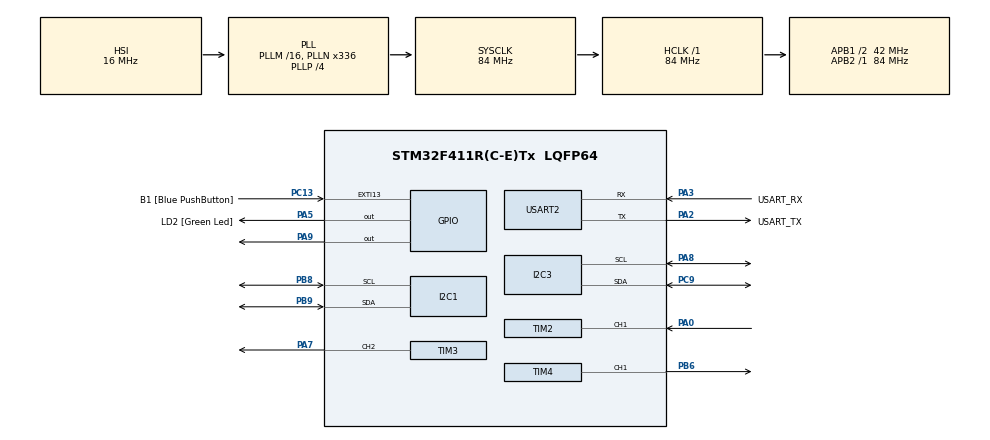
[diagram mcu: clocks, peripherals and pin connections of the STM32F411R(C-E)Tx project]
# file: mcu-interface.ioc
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Mcu.Family=STM32F4
Mcu.Name=STM32F411R(C-E)Tx
Mcu.Package=LQFP64
NVIC.PriorityGroup=NVIC_PRIORITYGROUP_0
NVIC.TIM2_IRQn=true\:0\:0\:false\:false\:true\:true\:true\:true
NVIC.TIM5_IRQn=true\:0\:0\:false\:false\:true\:true\:true\:true
PA0-WKUP.Signal=S_TIM2_CH1_ETR
PA13.GPIO_Label=TMS
PA13.Signal=SYS_JTMS-SWDIO
PA14.GPIO_Label=TCK
PA14.Signal=SYS_JTCK-SWCLK
PA2.GPIO_Label=USART_TX
PA2.Mode=Asynchronous
PA2.Signal=USART2_TX
PA3.GPIO_Label=USART_RX
PA3.Mode=Asynchronous
PA3.Signal=USART2_RX
PA5.GPIO_Label=LD2 [Green Led]
PA5.Signal=GPIO_Output
PA7.Signal=S_TIM3_CH2
PA8.Mode=I2C
PA8.Signal=I2C3_SCL
PA9.GPIO_ModeDefaultOutputPP=GPIO_MODE_OUTPUT_OD
PA9.GPIO_PuPd=GPIO_NOPULL
PA9.GPIO_Speed=GPIO_SPEED_FREQ_VERY_HIGH
PA9.PinState=GPIO_PIN_SET
PA9.Signal=GPIO_Output
PB3.GPIO_Label=SWO
PB3.Signal=SYS_JTDO-SWO
PB6.Signal=S_TIM4_CH1
PB8.Mode=I2C
PB8.Signal=I2C1_SCL
PB9.Mode=I2C
PB9.Signal=I2C1_SDA
PC13-ANTI_TAMP.GPIO_Label=B1 [Blue PushButton]
PC13-ANTI_TAMP.GPIO_ModeDefaultEXTI=GPIO_MODE_IT_FALLING
PC13-ANTI_TAMP.Signal=GPXTI13
PC14-OSC32_IN.Signal=RCC_OSC32_IN
PC15-OSC32_OUT.Signal=RCC_OSC32_OUT
PC9.Mode=I2C
PC9.Signal=I2C3_SDA
PH0\ -\ OSC_IN.Signal=RCC_OSC_IN
PH1\ -\ OSC_OUT.Signal=RCC_OSC_OUT
ProjectManager.HeapSize=0x200
ProjectManager.StackSize=0x400
ProjectManager.TargetToolchain=Makefile
RCC.48MHZClocksFreq_Value=84000000
RCC.AHBFreq_Value=84000000
RCC.APB1CLKDivider=RCC_HCLK_DIV2
RCC.APB1Freq_Value=42000000
RCC.APB1TimFreq_Value=84000000
RCC.APB2Freq_Value=84000000
RCC.APB2TimFreq_Value=84000000
RCC.CortexFreq_Value=84000000
RCC.FLatency-AdvancedSettings=FLASH_LATENCY_2
RCC.HCLKFreq_Value=84000000
RCC.HSE_VALUE=8000000
RCC.HSI_VALUE=16000000
RCC.LSE_VALUE=32768
RCC.PLLN=336
RCC.PLLP=RCC_PLLP_DIV4
RCC.SYSCLKFreq_VALUE=84000000
RCC.SYSCLKSource=RCC_SYSCLKSOURCE_PLLCLK
RCC.VCOOutputFreq_Value=336000000
SH.S_TIM2_CH1_ETR.0=TIM2_CH1,Input_Capture1_from_TI1
SH.S_TIM3_CH2.0=TIM3_CH2,PWM Generation2 CH2
SH.S_TIM4_CH1.0=TIM4_CH1,PWM Generation1 CH1
TIM2.Channel-Input_Capture1_from_TI1=TIM_CHANNEL_1
TIM2.Period=65535
TIM2.Prescaler=83
TIM3.Channel-PWM\ Generation2\ CH2=TIM_CHANNEL_2
TIM3.Prescaler=20
TIM4.Channel-PWM\ Generation1\ CH1=TIM_CHANNEL_1
TIM4.Period=1000
TIM4.Prescaler=1679
TIM5.Channel-Output\ Compare1\ No\ Output=TIM_CHANNEL_1
TIM5.Period=9999
TIM5.Prescaler=8399
USART2.VirtualMode=VM_ASYNC
VP_TIM4_VS_ClockSourceINT.Mode=Internal
VP_TIM5_VS_ClockSourceINT.Mode=Internal
VP_TIM5_VS_no_output1.Mode=Output Compare1 No Output
board=NUCLEO-F411RE

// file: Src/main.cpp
/* USER CODE BEGIN Header */
/**
 ******************************************************************************
 * @file           : main.c
 * @brief          : Main program body
 ******************************************************************************
 * @attention
 *
 * Copyright (c) 2022 STMicroelectronics.
 * All rights reserved.
 *
 * This software is licensed under terms that can be found in the LICENSE file
 * in the root directory of this software component.
 * If no LICENSE file comes with this software, it is provided AS-IS.
 *
 ******************************************************************************
 */
/* USER CODE END Header */
#include "main.h"
#include "gpio.h"
#include "i2c.h"
#include "tim.h"
#include "usart.h"

/* USER CODE BEGIN Includes */
#include "LCD.h"
#include "MotorShield.h"
#include "N64Controller.h"
#include "OneWire.h"
#include "Servo.h"
/* USER CODE END Includes */

/* USER CODE BEGIN PV */
int pulse;
int ifshowdist;
/* USER CODE END PV */

void SystemClock_Config(void);

/* USER CODE BEGIN 0 */
void showdist(LCD *display)
{
    float distance = pulse / 148.0;
    uint8_t msg[16];
    if (pulse > 25000)
    {
        sprintf((char *)msg, "N/A pulse=%d", pulse);
        display->setCursor(1, 0);
        display->send(msg, 14);
        // HAL_UART_Transmit(&huart2, msg1, sizeof(msg1), 10000);
    }
    else
    {
        sprintf((char *)msg, "dist=%f", distance);
        display->setCursor(1, 0);
        display->send(msg, 14);
        // HAL_UART_Transmit(&huart2, msg1, sizeof(msg1), 10000);
    }
    ifshowdist = 0;
}

/* USER CODE END 0 */

int main(void)
{

    /* MCU
     * Configuration--------------------------------------------------------*/

    /* Reset of all peripherals, Initializes the Flash interface and the
     * Systick.
     */
    HAL_Init();

    /* Configure the system clock */
    SystemClock_Config();

    /* Initialize all configured peripherals */
    MX_GPIO_Init();
    MX_USART2_UART_Init();
    MX_I2C1_Init();
    MX_TIM4_Init();
    MX_I2C3_Init();
    MX_TIM2_Init();
    MX_TIM3_Init();
    MX_TIM5_Init();
    /* USER CODE BEGIN 2 */
    SerialTransceiver serial(huart2);
    MotorShield _MS(&hi2c1, &huart2, MS_ADDR);
    LCD display(hi2c3);
    Servo servo(&htim4);
    // N64 n64;
    display.start();

    // distance sensor
    HAL_TIM_PWM_Start(&htim3, TIM_CHANNEL_2);   // Starts timer 3
    HAL_TIM_IC_Start_IT(&htim2, TIM_CHANNEL_1); // Starts timer 2
    __HAL_TIM_SET_COMPARE(&htim3, TIM_CHANNEL_2, 2);
    HAL_TIM_OC_Start_IT(&htim5, TIM_CHANNEL_1);
    /* USER CODE END 2 */

    /* Infinite loop */
    /* USER CODE BEGIN WHILE */
    const size_t BUFFER_SIZE = 5;
    display.clear();
    display.setCursor(0, 0);
    uint8_t msg[11] = "Collected:";
    display.send(msg, 10);
    servo.SetServoAngle(100);
    while (1)
    {
        // distance sensor
        if (ifshowdist)
        {
            showdist(&display);
        }
        float distance = pulse / 148.0;
        // if (distance < 6)
        // {
        //     _MS.rotate(true);
        //     continue;
        // }
        // N64 {{
        // if (n64.is_connected)
        // {
        //     auto n64_data = n64.query();
        //     // Joystick test {{
        //     if (n64_data.R)
        //         _MS.rotate(false);
        //     else if (n64_data.L)
        //         _MS.rotate(true);
        //     else
        //         _MS.go_dir(n64_data.JoystickY, n64_data.JoystickX);
        //     if (n64_data.Z)
        //         servo.SetServoAngle(0);
        //     else
        //         servo.SetServoAngle(0);

        //     continue;
        // }
        // }}
        serial.heartbeat();
        Packet<BUFFER_SIZE> pac;
        pac.size = 0;
        serial.receive<BUFFER_SIZE>(pac);
        Device device = Device(pac.header.device);
        switch (device)
        {
        case SCREEN: {
            uint8_t str_collected[4] = "255";
            uint8_t tmp = pac.data[1];
            for (int i = 0; i < 3; i++)
            {
                str_collected[2 - i] = (uint8_t)(tmp % 10) + '0';
                tmp /= 10;
            }
            display.setCursor(0, 10);
            display.send(str_collected, 3);
            break;
        }
        case MOTOR: {
            const MotorData &data = *(const MotorData *)(pac.data);
            _MS.SetMotor(pac.header.index, data.pwm, data.in1, data.in2);
            break;
        }
        case SERVO:
            servo.SetServoAngle(pac.data[0]);
            break;
        default:
            break;
        }
        /* USER CODE END WHILE */

    }
}

void SystemClock_Config(void)
{
    RCC_OscInitTypeDef RCC_OscInitStruct = {0};
    RCC_ClkInitTypeDef RCC_ClkInitStruct = {0};

    /** Configure the main internal regulator output voltage
     */
    __HAL_RCC_PWR_CLK_ENABLE();
    __HAL_PWR_VOLTAGESCALING_CONFIG(PWR_REGULATOR_VOLTAGE_SCALE1);

    /** Initializes the RCC Oscillators according to the specified parameters
     * in the RCC_OscInitTypeDef structure.
     */
    RCC_OscInitStruct.OscillatorType = RCC_OSCILLATORTYPE_HSI;
    RCC_OscInitStruct.HSIState = RCC_HSI_ON;
    RCC_OscInitStruct.HSICalibrationValue = RCC_HSICALIBRATION_DEFAULT;
    RCC_OscInitStruct.PLL.PLLState = RCC_PLL_ON;
    RCC_OscInitStruct.PLL.PLLSource = RCC_PLLSOURCE_HSI;
    RCC_OscInitStruct.PLL.PLLM = 16;
    RCC_OscInitStruct.PLL.PLLN = 336;
    RCC_OscInitStruct.PLL.PLLP = RCC_PLLP_DIV4;
    RCC_OscInitStruct.PLL.PLLQ = 4;
    if (HAL_RCC_OscConfig(&RCC_OscInitStruct) != HAL_OK)
    {
        Error_Handler();
    }

    /** Initializes the CPU, AHB and APB buses clocks
     */
    RCC_ClkInitStruct.ClockType = RCC_CLOCKTYPE_HCLK | RCC_CLOCKTYPE_SYSCLK |
                                  RCC_CLOCKTYPE_PCLK1 | RCC_CLOCKTYPE_PCLK2;
    RCC_ClkInitStruct.SYSCLKSource = RCC_SYSCLKSOURCE_PLLCLK;
    RCC_ClkInitStruct.AHBCLKDivider = RCC_SYSCLK_DIV1;
    RCC_ClkInitStruct.APB1CLKDivider = RCC_HCLK_DIV2;
    RCC_ClkInitStruct.APB2CLKDivider = RCC_HCLK_DIV1;

    if (HAL_RCC_ClockConfig(&RCC_ClkInitStruct, FLASH_LATENCY_2) != HAL_OK)
    {
        Error_Handler();
    }
}

void Error_Handler(void)
{
    /* USER CODE BEGIN Error_Handler_Debug */
    /* User can add his own implementation to report the HAL error return state
     */
    __disable_irq();
    while (1)
    {
    }
    /* USER CODE END Error_Handler_Debug */
}

#ifdef USE_FULL_ASSERT
/**
 * @brief  Reports the name of the source file and the source line number
 *         where the assert_param error has occurred.
 * @param  file: pointer to the source file name
 * @param  line: assert_param error line source number
 * @retval None
 */
void assert_failed(uint8_t *file, uint32_t line)
{
    /* USER CODE BEGIN 6 */
    /* User can add his own implementation to report the file name and line
       number, ex: printf("Wrong parameters value: file %s on line %d\r\n",
       file, line) */
    /* USER CODE END 6 */
}
#endif /* USE_FULL_ASSERT */
